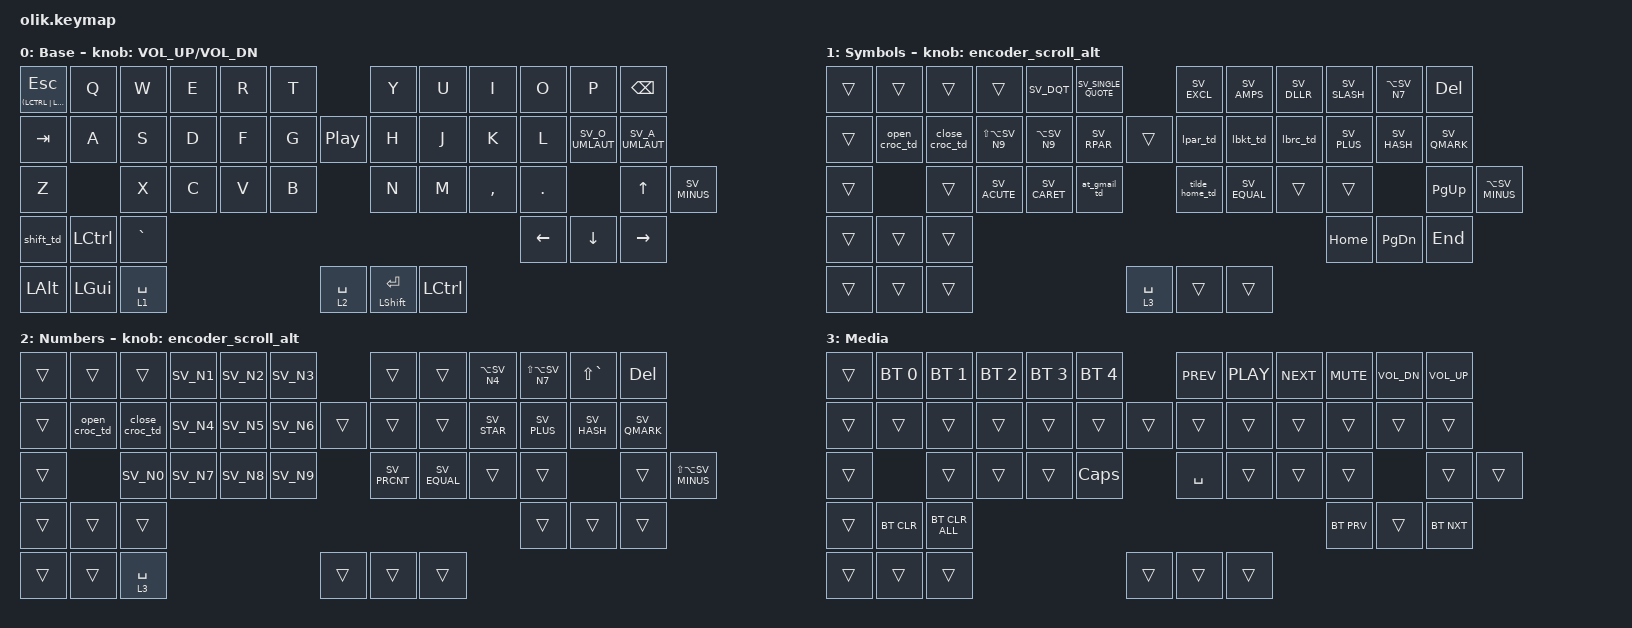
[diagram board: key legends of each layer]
#define ZMK_MOUSE_SCRL_VAL 140
#include <behaviors.dtsi>
#include <dt-bindings/zmk/keys.h>
#include <dt-bindings/zmk/modifiers.h>
#include <dt-bindings/zmk/bt.h>
#include <dt-bindings/zmk/pointing.h>
#include <locale/keys_sv.h>

/ {
	
	behaviors {
		// Alternative scroll behavior using MOVE values (for smooth scrolling)
		encoder_scroll_alt: encoder_scroll_alt {
			compatible = "zmk,behavior-sensor-rotate";
			#sensor-binding-cells = <0>;
			bindings = <&msc MOVE_UP>, <&msc MOVE_DOWN>;
			
			tap-ms = <50>;
		};
		
		
		at_gmail_td: at_gmail_td {
			compatible = "zmk,behavior-tap-dance";
			#binding-cells = <0>;
			tapping-term-ms = <200>;
			bindings = <&kp SV_AT>, <&macro_gmail>;
		};
		
		tilde_home_td: tilde_home_td {
			compatible = "zmk,behavior-tap-dance";
			#binding-cells = <0>;
			tapping-term-ms = <200>;
			bindings = <&kp SV_TILDE>, <&macro_tilde_home>;
		};
		
		open_croc_td: open_croc_td {
			compatible = "zmk,behavior-tap-dance";
			#binding-cells = <0>;
			tapping-term-ms = <200>;
			bindings
			= <&kp SV_LT &macro_open_close_croc>;
		};
		
		close_croc_td: close_croc_td {
			compatible = "zmk,behavior-tap-dance";
			#binding-cells = <0>;
			tapping-term-ms = <200>;
			bindings
			= <&kp SV_GT &macro_close_croc>;
		};
		
		lpar_td: lpar_td {
			compatible = "zmk,behavior-tap-dance";
			#binding-cells = <0>;
			tapping-term-ms = <200>;
			bindings
			= <&kp SV_LPAR &macro_lpar>;
		};
		
		lbkt_td: lbkt_td {
			compatible = "zmk,behavior-tap-dance";
			#binding-cells = <0>;
			tapping-term-ms = <200>;
			bindings
			= <&kp LA(SV_N8) &macro_lbkt>;
		};
		
		lbrc_td: lbrc_td {
			compatible = "zmk,behavior-tap-dance";
			#binding-cells = <0>;
			tapping-term-ms = <200>;
			bindings
			= <&kp LS(LA(SV_N8)) &macro_lbrc>;
		};
		
		shift_td: shift_td {
			compatible = "zmk,behavior-tap-dance";
			#binding-cells = <0>;
			tapping-term-ms = <250>;
			bindings = <&kp LSHIFT>, <&sk LSHIFT>, <&caps_word>;
		};
	};
	
	macros {
		macro_pa: macro_pa {
			/* Outputs: "på". */
			compatible = "zmk,behavior-macro";
			#binding-cells = <0>;
			bindings
			= <&kp SV_P &kp SV_A_RING>;
		};
		
		macro_kim_fransman: macro_kim_fransman {
			/* Outputs: "kim.fransman". */
			compatible = "zmk,behavior-macro";
			#binding-cells = <0>;
			bindings
			= <&kp K &kp I &kp M &kp DOT &kp F &kp R &kp A &kp N &kp S &kp M &kp A &kp N>;
		};
		
		macro_gmail: macro_gmail {
			/* Outputs: "@gmail.com". */
			compatible = "zmk,behavior-macro";
			#binding-cells = <0>;
			bindings
			= <&kp SV_AT &kp G &kp M &kp A &kp I &kp L &kp DOT &kp C &kp O &kp M>;
		};
		
		macro_tilde_home: macro_tilde_home {
			/* Outputs: "~/". */
			compatible = "zmk,behavior-macro";
			#binding-cells = <0>;
			bindings
			= <&kp SV_TILDE &kp SV_SLASH>;
		};
		
		macro_open_close_croc: macro_open_close_croc {
			/* Outputs: "</>" and moves cursor between "/" and ">". */
			compatible = "zmk,behavior-macro";
			#binding-cells = <0>;
			bindings
			= <&kp SV_LT &kp SV_FSLH &kp SV_GT &kp LEFT>;
		};
		
		macro_close_croc: macro_close_croc {
			/* Outputs: "/>". */
			compatible = "zmk,behavior-macro";
			#binding-cells = <0>;
			bindings
			= <&kp SV_FSLH &kp SV_GT>;
		};
		
		
		macro_lpar: macro_lpar {
			/* Outputs: "()" and moves cursor inside. */
			compatible = "zmk,behavior-macro";
			#binding-cells = <0>;
			bindings
			= <&kp SV_LPAR &kp SV_RPAR &kp LEFT>;
		};
		macro_lbkt: macro_lbkt {
			/* Outputs: "[]" and moves cursor inside. */
			compatible = "zmk,behavior-macro";
			#binding-cells = <0>;
			bindings
			= <&kp LA(SV_N8) &kp LA(SV_N9) &kp LEFT>;
		};
		macro_lbrc: macro_lbrc {
		/* Outputs: "{}" and moves cursor inside. */
			compatible = "zmk,behavior-macro";
			#binding-cells = <0>;
			bindings
			= <&kp LS(LA(SV_N8)) &kp LS(LA(SV_N9)) &kp LEFT>;
		};
	};
	
	combos {
		compatible = "zmk,combos";
		
		combo_aring {
			/* Ö + Ä => Å. */
			timeout-ms = <30>;
			key-positions = <23 24>;
			bindings = <&kp SV_A_RING>;
			layers = <0>;
		};
		
		combo_pa {
			/* P + Ö => PÅ. */
			timeout-ms = <30>;
			key-positions = <10 23>;
			bindings = <&macro_pa>;
			layers = <0>;
		};
		
		combo_email_username {
			/* I + K => kim.fransman. */
			timeout-ms = <30>;
			key-positions = <8 21>;
			bindings = <&macro_kim_fransman>;
			layers = <0>;
		};
	};
	
	
	keymap {
		compatible = "zmk,keymap";
		
		// -----------------------------------------------------------------------------------------
		// | ESC   |  Q    |  W   |  E   |  R   |  T   |                 |  Y   |  U   |  I   |  O   |  P   | BSPC |
		// | TAB   |  A    |  S   |  D   |  F   |  G   |     PLAY/PAUSE  |  H   |  J   |  K   |  L   |  Ö   |  Ä   |
		// |       |  Z    |  X   |  C   |  V   |  B   |                 |  N   |  M   |  ,   |  .   |  UP  |  -   |
		// | SHIFT |  CTRL | §                                                                  LEFT | DOWN | RIGHT|
		//                     ALT | GUI | SPACE (SYM) |                 | SPACE (NUM) | ENTER | CTRL
		default_layer {
			display-name = "Base";
			bindings = <
			&mt (LCTRL | LGUI) ESCAPE		&kp Q             &kp W             &kp E             &kp R             &kp T                           &kp Y             &kp U             &kp I             &kp O             &kp P             &kp BACKSPACE
			&kp TAB           		      &kp A             &kp S             &kp D             &kp F             &kp G    &kp C_PLAY_PAUSE 			&kp H             &kp J             &kp K             &kp L             &kp SV_O_UMLAUT   &kp SV_A_UMLAUT
			&kp Z             		      &kp X             &kp C             &kp V             &kp B                           									&kp N             &kp M             &kp COMMA         &kp DOT           &kp UP            &kp SV_MINUS
			&shift_td        		        &kp LCTRL  		    &kp GRAVE                                                    																				                                    &kp LEFT          &kp DOWN          &kp RIGHT
			&kp LEFT_ALT  &kp LEFT_GUI  &lt 1 SPACE                                                                           &lt 2 SPACE        &mt LSHIFT ENTER         &kp LCTRL
			>;
			
			sensor-bindings = <&inc_dec_kp C_VOL_UP C_VOL_DN>;
		};
		
		// -----------------------------------------------------------------------------------------
		// | ESC   |     |     |     |  "  |  '   |          |  !  |  &  |  $  |  /  |  |     | DEL |
		// | TAB   |  <  |  >   |  }  |  ]  |  )  |   SCROLL | (   |  [  |  {  |  +  |  #     |  ?  |
		// |       |      |      |  ´  |  ^  |  @  |          |  ~  |  =  |     |     |  PGUP  |  –   |
		// | SHIFT |  CTRL |   |                                                 | HOME | PGDOWN | END|
		//                     | ALT | GUI | SPACE |        | SPACE (MEDIA) | LSENTER | SHIFT |
		sym {
			display-name = "Symbols";
			bindings = <
			&trans  &trans        	&trans          &trans              &kp SV_DQT     &kp SV_SINGLE_QUOTE           &kp SV_EXCL      &kp SV_AMPS  &kp SV_DLLR  &kp SV_SLASH &kp LA(SV_N7)  &kp DELETE
			&trans  &open_croc_td   &close_croc_td  &kp LS(LA(SV_N9))   &kp LA(SV_N9)  &kp SV_RPAR           &trans  &lpar_td         &lbkt_td     &lbrc_td     &kp SV_PLUS  &kp SV_HASH    &kp SV_QMARK
			&trans                	&trans          &kp SV_ACUTE        &kp SV_CARET   &at_gmail_td                  &tilde_home_td   &kp SV_EQUAL &trans            &trans                &kp PAGE_UP    &kp LA(SV_MINUS)
			&trans  &trans  &trans                                                                                                                           &kp HOME     &kp PAGE_DOWN  &kp END
			&trans  &trans  &trans                                                                         &lt 3 SPACE  &trans  &trans
			>;
			
			sensor-bindings = <&encoder_scroll_alt>;
		};
		
		// -----------------------------------------------------------------------------------------
		// | ESC |  	|  |  1   |  2   |  3   |       	|  €  |  \  |  °  |     | DEL  |
		// | TAB | <  | > |			  4   |  5   |  6   | SCROLL  |   |      |  *  |   +    |   #    | ? |
		// |     |    |  0  |  7   |  8   |  9   |       	| % | = |   |   | UP | — |
		// | SHIFT    CTRL |   |      | | | |
		//                     | ALT | GUI | SPACE (MEDIA) |        | SPACE | LSENTER | SHIFT |
		num {
			display-name = "Numbers";
			bindings = <
			&trans  &trans           			 &trans           &kp SV_N1  &kp SV_N2  &kp SV_N3             &trans            &trans           &kp LA(SV_N4)  &kp LS(LA(SV_N7))  &kp LS(GRAVE)  &kp DELETE
			&trans  &open_croc_td 				 &close_croc_td   &kp SV_N4  &kp SV_N5  &kp SV_N6     &trans  &trans            &trans           &kp SV_STAR    &kp SV_PLUS  &kp SV_HASH  &kp SV_QMARK
			&trans                         &kp	 SV_N0        &kp SV_N7  &kp SV_N8  &kp SV_N9             &kp SV_PRCNT      &kp SV_EQUAL     &trans         &trans       &trans       &kp LS(LA(SV_MINUS))
			&trans  &trans     &trans                                                                  &trans  &trans  &trans
			&trans  &trans     &lt 3 SPACE                                                             &trans &trans &trans
			>;
			
			sensor-bindings = <&encoder_scroll_alt>;
		};
		
		// -----------------------------------------------------------------------------------------
		// | ESC   |  BT_SEL  |  BT_SEL  |  BT_SEL  |  BT_SEL  |  BT_SEL  |   | PREV | PLAY | NEXT | MUTE | VOL- | VOL+ |
		// | TAB   |  NO  | NO | NO  | NO  |  NO  |   | NO |  NO  | NO | NO |  NO  |  NO  |
		// | SHIFT |  BT_CLR  |  BT_CLR_ALL  |  NO  |  NO  | CAPS |   | SPACE | NO |  NO  | BT_PRV |  NO  |  BT_NXT  |
		//                    | NO | NO | NO |   | NO | NO | NO |
		media {
			display-name = "Media";
			bindings = <
			&trans &bt BT_SEL 0 &bt BT_SEL 1   &bt BT_SEL 2  &bt BT_SEL 3 &bt BT_SEL 4              &kp C_PREV &kp C_PLAY &kp C_NEXT &kp C_MUTE   &kp C_VOL_DN &kp C_VOL_UP
			&trans &trans       &trans         &trans        &trans       &trans          &trans    &trans     &trans     &trans     &trans       &trans       &trans
			&trans &trans       &trans         &trans        &kp CAPS 			                        &kp SPACE  &trans     &trans     &trans       &trans       &trans
			&trans &bt BT_CLR   &bt BT_CLR_ALL                                                                                      &bt BT_PRV    &trans       &bt BT_NXT
			&trans &trans       &trans                                                             &trans &trans &trans
			>;
		};
		
	};
};
